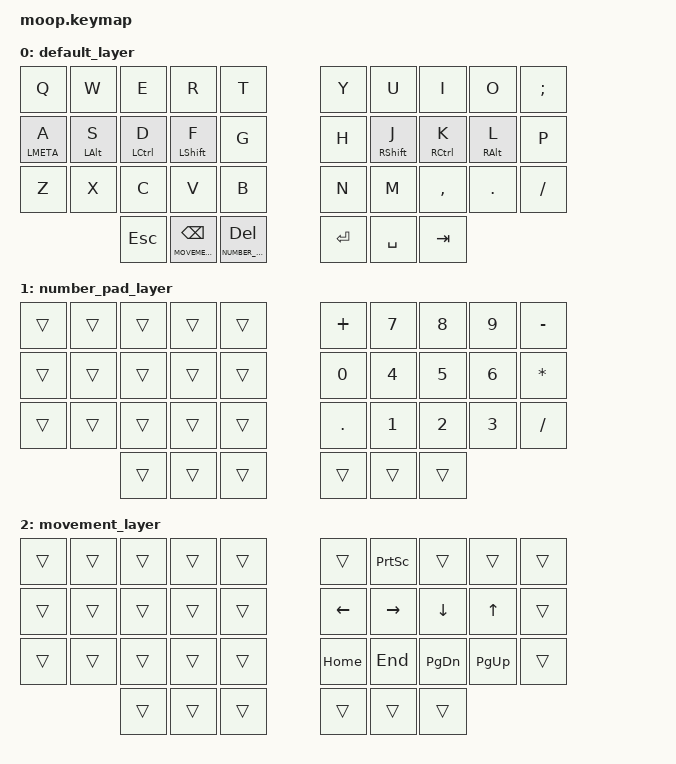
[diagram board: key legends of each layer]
/*
 * Copyright (c) 2020 The ZMK Contributors
 *
 * SPDX-License-Identifier: MIT
 */

#include <behaviors.dtsi>
#include <dt-bindings/zmk/keys.h>
//#include <dt-bindings/zmk/bt.h>

// Layers
#define DEFAULT 0
#define NUMBER_PAD_LAYER   1
#define MOVEMENT_LAYER   2

// Layer-Tap: https://zmk.dev/docs/behaviors/layers#layer-tap
&lt {
    tapping-term-ms = <200>;
};

&mt {
    flavor = "tap-preferred";
    tapping-term-ms = <250>;
    require-prior-idle-ms = <200>;
    retro-tap;
};


/ {
        keymap {
            compatible = "zmk,keymap";
            default_layer {
                // -----------------------------------------------------------------------------------------
                // |  Q  |  W  |  E  |  R  |  T  |     |  Y  |  U   |  I  |  O  |  ;  |
                // |  A  |  S  |  D  |  F  |  G  |     |  H  |  J   |  K  |  L  |  P  |
                // |  Z  |  X  |  C  |  V  |  B  |     |  N  |  M   |  ,  |  .  |  /  |
                //             | ESC | BS | DEL |     | ENT | SPC  | TAB |
                bindings = <
                    &kp Q         &kp W        &kp E         &kp R   &kp T                             &kp Y   &kp U   &kp I   &kp O   &kp SEMI
                    &mt LMETA A   &mt LALT S   &mt LCTRL D   &mt LSHFT F   &kp G      &kp H   &mt RSHFT J   &mt RCTRL K   &mt RALT L   &kp P
                    &kp Z         &kp X        &kp C         &kp V   &kp B                             &kp N   &kp M   &kp COMMA   &kp DOT   &kp FSLH
                        &kp ESC &lt MOVEMENT_LAYER BACKSPACE  &lt NUMBER_PAD_LAYER DELETE                &kp RETURN   &kp SPACE   &kp TAB
                >;
            };

            number_pad_layer {
                // -----------------------------------------------------------------------------------------
                // |    |    |    |    |    |     |  +  |  7   |  8  |  9  |  -  |
                // |    |    |    |    |    |     |  0  |  4   |  5  |  6  |  *  |
                // |    |    |    |    |    |     |  .  |  1   |  2  |  3  |  /  |
                //      |  |  | (ACTIVATE) |     |  |  |  |
                bindings = <
                   &trans  &trans  &trans  &trans  &trans     &kp PLUS  &kp N7 &kp N8 &kp N9 &kp MINUS
                   &trans  &trans  &trans  &trans  &trans     &kp N0 &kp N4 &kp  N5 &kp N6  &kp ASTERISK
                   &trans  &trans  &trans  &trans  &trans     &kp DOT  &kp N1  &kp N2  &kp N3 &kp FSLH
                                   &trans  &trans  &trans     &trans  &trans  &trans
                   >;
                };

            movement_layer {
                // -----------------------------------------------------------------------------------------
                // |    |    |    |    |   |     |        |  PRINTSCREEN  |            |           |    |
                // |    |    |    |    |   |     |  LEFT  |  RIGHT        |  DOWN      |  UP       |    |
                // |    |    |    |    |   |     |  HOME  |  END          |  PAGE_DOWN |  PAGE_UP  |    |
                //      |  | (ACTIVATE) |  |     |        |               |            |
                bindings = <
                   &trans  &trans  &trans  &trans  &trans     &trans  &kp PRINTSCREEN  &trans  &trans  &trans
                   &trans  &trans  &trans  &trans  &trans     &kp LEFT &kp RIGHT &kp DOWN &kp UP &trans
                   &trans  &trans  &trans  &trans  &trans     &kp HOME  &kp END &kp PAGE_DOWN  &kp PAGE_UP &trans
                                   &trans  &trans  &trans     &trans  &trans  &trans
                >;
            };

//                f_keys_layer {
// -----------------------------------------------------------------------------------------
// |  Q  |  F9  |  F10  |  F11  |  F12  |     |  +  |  7   |  8  |  9  |  -  |
// |  A  |  F5  |  F6  |  F7  |  F8  |     |  0  |  4   |  5  |  6  |  *  |
// |  Z  |  F1  |  F2  |  F3  |  F4  |     |  .  |  1   |  2  |  3  |  /  |
//             | ESC | BS | DEL |     | ENT | SPC  | TAB |
//                        bindings = <
//   &kp TAB    &kp N1       &kp N2       &kp N3       &kp N4       &kp N5         &kp N6   &kp N7   &kp N8 &kp N9    &kp N0 &kp BSPC
//   &bt BT_CLR &bt BT_SEL 0 &bt BT_SEL 1 &bt BT_SEL 2 &bt BT_SEL 3 &bt BT_SEL 4   &kp LEFT &kp DOWN &kp UP &kp RIGHT &trans &trans
//   &kp LSHFT  &trans       &trans       &trans       &trans       &trans         &trans   &trans   &trans &trans    &trans &trans
//                                    &kp LGUI     &trans       &kp SPACE      &kp RET  &trans   &kp RALT
//                        >;
//                };

//                raise_layer {
// -----------------------------------------------------------------------------------------
// |  TAB |  !  |  @  |  #  |  $  |  %  |   |  ^  |  &  |  *  |  (  |  )  | BKSP |
// | CTRL |     |     |     |     |     |   |  -  |  =  |  [  |  ]  |  \  |  `   |
// | SHFT |     |     |     |     |     |   |  _  |  +  |  {  |  }  | "|" |  ~   |
//                    | GUI |     | SPC |   | ENT |     | ALT |
//                        bindings = <
//   &kp  TAB  &kp EXCL &kp AT &kp HASH &kp DLLR &kp PRCNT   &kp CARET &kp AMPS  &kp ASTRK &kp LPAR &kp RPAR &kp BSPC
//   &kp LCTRL &trans   &trans &trans   &trans   &trans      &kp MINUS &kp EQUAL &kp LBKT  &kp RBKT &kp BSLH &kp GRAVE
//   &kp LSHFT &trans   &trans &trans   &trans   &trans      &kp UNDER &kp PLUS  &kp LBRC  &kp RBRC &kp PIPE &kp TILDE
//                             &kp LGUI &trans   &kp SPACE   &kp RET   &trans    &kp RALT
//                        >;
//                };
        };
};
